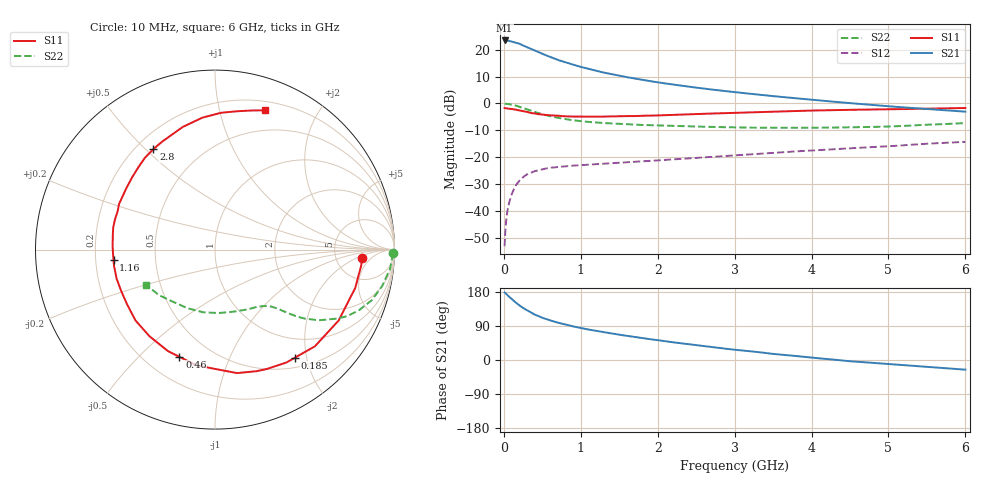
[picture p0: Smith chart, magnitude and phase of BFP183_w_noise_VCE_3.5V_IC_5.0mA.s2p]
! Infineon Technologies  Discrete & RF Semiconductors
! BFP183
! VCE = 3.5 V,  IC =  5.0 mA
! Common Emitter S-Parameters:  Jan 2016
# GHz  S  MA  R  50
!  f  S11  S21  S12  S22
! GHz  MAG  ANG  MAG  ANG  MAG  ANG  MAG  ANG
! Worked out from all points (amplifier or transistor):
!   210 points, 10 MHz to 6 GHz, reference 50 ohm
!   highest |S21| = 23.5 dB at 10 MHz (marker M1)
!   |S21| within 3 dB of that: start of sweep to 342 MHz
!   unconditionally stable (mu >= 1): 1.586 GHz to 5.691 GHz
!   at 185 MHz: K = 0.16, MSG = 25.9 dB, |S12| = -29.4 dB
!   at 1.52 GHz: K = 0.97, MSG = 16.1 dB, |S12| = -22.0 dB
!   at 6 GHz: K = 0.94, MSG = 5.6 dB, |S12| = -14.3 dB
!   lowest NFmin = 1.15 dB at 450 MHz
!   S11 on the Smith chart (normalised r, x): 10 MHz: 9.45, -2.57; 185 MHz: 0.66, -1.80; 460 MHz: 0.34, -0.67; 1.16 GHz: 0.28, -0.05; 2.8 GHz: 0.27, +0.53; 6 GHz: 0.29, +1.38
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0.01  0.8208 -3.1  14.93 178.2  0.0022 85.1  0.9936 -1.2
0.05  0.81 -15.3  14.86 170.3  0.0107 83.9  0.9812 -6.3
0.1  0.7942 -29.8  14.29 161.1  0.0199 73.8  0.9526 -12.4
0.15  0.7747 -44.1  13.68 152.4  0.0291 67.2  0.9183 -17.8
0.185  0.7489 -53.5  13.17 146.7  0.034 63.5  0.8858 -21.1
0.24  0.7248 -66.7  12.2 138.7  0.041 57.4  0.8346 -25.8
0.3  0.6989 -79.9  11.25 131.2  0.0478 52.1  0.7786 -29.6
0.4  0.6532 -99.1  9.745 119.9  0.0548 45.2  0.697 -34.4
0.46  0.6296 -108.4  8.909 115.1  0.0577 42.2  0.6562 -36.2
0.5  0.6234 -114.8  8.392 111.4  0.0597 40.3  0.6295 -37.6
0.6  0.6052 -127.1  7.378 104.6  0.0635 36.7  0.5793 -39.6
0.7  0.5934 -138.3  6.485 98.6  0.0657 34.6  0.5413 -40.9
0.8  0.5773 -147.8  5.847 93.3  0.0676 32.6  0.5123 -42.0
1.02  0.5705 -164.9  4.723 83.6  0.0712 31.0  0.4654 -44.1
1.16  0.5684 -174.1  4.202 78.3  0.0735 30.3  0.4466 -45.3
1.5  0.5801 168.0  3.293 66.6  0.0789 30.1  0.4171 -48.9
2.02  0.6 145.9  2.45 51.7  0.0877 30.8  0.3896 -56.1
2.8  0.6569 121.5  1.753 31.6  0.1034 31.4  0.3635 -70.9
3.1  0.6748 113.7  1.572 25.2  0.1105 31.2  0.3566 -77.6
4.1  0.7422 93.8  1.14 4.4  0.1359 28.5  0.3546 -103.6
5.1  0.784 79.8  0.866 -12.2  0.163 24.9  0.3769 -130.9
6  0.8247 70.2  0.704 -25.5  0.1933 18.0  0.4317 -153.2
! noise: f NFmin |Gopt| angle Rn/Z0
0.45  1.15  0.25  40  0.26
0.9  1.2  0.25  93  0.22
1.8  1.95  0.32  170  0.13
